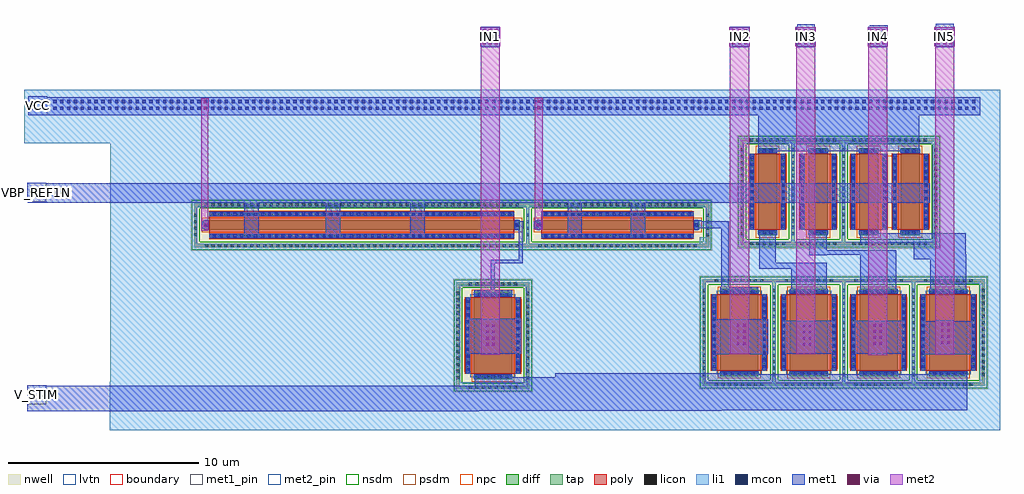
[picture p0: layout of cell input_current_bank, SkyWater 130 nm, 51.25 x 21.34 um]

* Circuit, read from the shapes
.subckt input_current_bank IN1 IN2 IN3 IN4 IN5 VBP_REF1N VCC V_STIM
XM1 sky130_fd_pr__pfet_01v8_lvt_Y5YEVR_9/D VBP_REF1N VCC VCC sky130_fd_pr__pfet_01v8 w=0.5 l=16
XM2 sky130_fd_pr__pfet_01v8_lvt_Y5YEVR_9/D IN1 V_STIM VCC sky130_fd_pr__pfet_01v8_lvt w=2 l=4
XM3 sky130_fd_pr__pfet_01v8_lvt_Y5YEVR_8/D VBP_REF1N VCC VCC sky130_fd_pr__pfet_01v8 w=0.5 l=8
XM4 sky130_fd_pr__pfet_01v8_lvt_Y5YEVR_8/D IN2 V_STIM VCC sky130_fd_pr__pfet_01v8_lvt w=2 l=4
XM5 VCC VBP_REF1N sky130_fd_pr__pfet_01v8_lvt_Y5YEVR_7/D VCC sky130_fd_pr__pfet_01v8 w=1 l=4
XM6 sky130_fd_pr__pfet_01v8_lvt_Y5YEVR_7/D IN3 V_STIM VCC sky130_fd_pr__pfet_01v8_lvt w=2 l=4
XM7 VCC VBP_REF1N sky130_fd_pr__pfet_01v8_lvt_Y5YEVR_6/D VCC sky130_fd_pr__pfet_01v8 w=1 l=4
XM8 VCC VBP_REF1N sky130_fd_pr__pfet_01v8_lvt_Y5YEVR_5/D VCC sky130_fd_pr__pfet_01v8 w=1 l=4 m=2
XM9 sky130_fd_pr__pfet_01v8_lvt_Y5YEVR_6/D IN4 V_STIM VCC sky130_fd_pr__pfet_01v8_lvt w=2 l=4
XM10 sky130_fd_pr__pfet_01v8_lvt_Y5YEVR_5/D IN5 V_STIM VCC sky130_fd_pr__pfet_01v8_lvt w=2 l=4
.ends

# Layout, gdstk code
from math import pi, radians
import gdstk
lib = gdstk.Library(unit=1e-6, precision=1e-09)
def R(c, l, rs):  # rectangles x0, y0, x1, y1
    for r in rs: c.add(gdstk.rectangle(r[:2], r[2:], *l))
def A(c, l, x, y, w, h, nx, ny, dx, dy):  # array of equal rectangles
    R(c, l, [(x+i*dx, y+j*dy, x+i*dx+w, y+j*dy+h) for i in range(nx) for j in range(ny)])
nwell = (64, 20)
diff = (65, 20)
tap = (65, 44)
poly = (66, 20)
licon = (66, 44)
li1 = (67, 20)
mcon = (67, 44)
met1_pin = (68, 16)
met1 = (68, 20)
via = (68, 44)
met2_pin = (69, 16)
met2 = (69, 20)
nsdm = (93, 44)
psdm = (94, 20)
npc = (95, 20)
lvtn = (125, 44)
boundary = (235, 4)

sky130_fd_pr__pfet_01v8_ = lib.new_cell('sky130_fd_pr__pfet_01v8_5ZWTQG')
R(sky130_fd_pr__pfet_01v8_, nwell, [(-2.98,-2.685,2.98,2.685)])
R(sky130_fd_pr__pfet_01v8_, diff, [(-2.29,-1.59,2.29,-0.59), (-2.29,0.59,2.29,1.59)])
R(sky130_fd_pr__pfet_01v8_, tap, [(-2.8,-2.505,2.8,-2.335), (-2.8,-2.335,-2.63,2.335), (2.63,-2.335,2.8,2.335), (-2.8,2.335,2.8,2.505)])
R(sky130_fd_pr__pfet_01v8_, poly, [(-2,-2.075,2,-0.105), (-2,0.105,2,2.075)])
A(sky130_fd_pr__pfet_01v8_, licon, -2.295, -2.505, 0.17, 0.17, 14, 2, 0.34, 4.84)
A(sky130_fd_pr__pfet_01v8_, licon, -1.785, -1.995, 0.17, 0.17, 11, 2, 0.34, 1.64)
A(sky130_fd_pr__pfet_01v8_, licon, -2.8, -1.955, 0.17, 0.17, 1, 12, 0, 0.34)
A(sky130_fd_pr__pfet_01v8_, licon, 2.63, -1.955, 0.17, 0.17, 1, 12, 0, 0.34)
A(sky130_fd_pr__pfet_01v8_, licon, -2.23, -1.515, 0.17, 0.17, 1, 3, 0, 0.34)
A(sky130_fd_pr__pfet_01v8_, licon, 2.06, -1.515, 0.17, 0.17, 1, 3, 0, 0.34)
A(sky130_fd_pr__pfet_01v8_, licon, -1.785, 0.185, 0.17, 0.17, 11, 2, 0.34, 1.64)
A(sky130_fd_pr__pfet_01v8_, licon, -2.23, 0.665, 0.17, 0.17, 1, 3, 0, 0.34)
A(sky130_fd_pr__pfet_01v8_, licon, 2.06, 0.665, 0.17, 0.17, 1, 3, 0, 0.34)
R(sky130_fd_pr__pfet_01v8_, li1, [(-2.8,-2.505,2.8,-2.335), (-2.8,-2.335,-2.63,2.335), (2.63,-2.335,2.8,2.335), (-2,-1.995,2,-1.825), (-2.23,-1.61,-2.06,-0.57), (2.06,-1.61,2.23,-0.57), (-2,-0.355,2,-0.185), (-2,0.185,2,0.355), (-2.23,0.57,-2.06,1.61), (2.06,0.57,2.23,1.61), (-2,1.825,2,1.995), (-2.8,2.335,2.8,2.505)])
A(sky130_fd_pr__pfet_01v8_, mcon, -1.885, -1.995, 0.17, 0.17, 11, 2, 0.36, 1.64)
A(sky130_fd_pr__pfet_01v8_, mcon, -1.885, 0.185, 0.17, 0.17, 11, 2, 0.36, 1.64)
R(sky130_fd_pr__pfet_01v8_, mcon, [(-2.23,-1.355,-2.06,-1.185), (2.06,-1.355,2.23,-1.185), (-2.23,-0.995,-2.06,-0.825), (2.06,-0.995,2.23,-0.825), (-2.23,0.825,-2.06,0.995), (2.06,0.825,2.23,0.995), (-2.23,1.185,-2.06,1.355), (2.06,1.185,2.23,1.355)])
R(sky130_fd_pr__pfet_01v8_, met1, [(-1.98,-2.025,1.98,-1.795), (-2.26,-1.59,-2.03,-0.59), (2.03,-1.59,2.26,-0.59), (-1.98,-0.385,1.98,-0.155), (-1.98,0.155,1.98,0.385), (-2.26,0.59,-2.03,1.59), (2.03,0.59,2.26,1.59), (-1.98,1.795,1.98,2.025)])
R(sky130_fd_pr__pfet_01v8_, nsdm, [(-2.925,-2.63,2.925,-2.21), (-2.925,-2.21,-2.505,2.21), (2.505,-2.21,2.925,2.21), (-2.925,2.21,2.925,2.63)])
R(sky130_fd_pr__pfet_01v8_, psdm, [(-2.415,-1.715,2.415,-0.465), (-2.415,0.465,2.415,1.715)])
R(sky130_fd_pr__pfet_01v8_, npc, [(-1.885,-2.095,1.885,-1.725), (-1.885,-0.455,1.885,0.455), (-1.885,1.725,1.885,2.095)])
R(sky130_fd_pr__pfet_01v8_, boundary, [(-2.715,-2.42,2.715,2.42)])
sky130_fd_pr__pfet_01v8_.add(gdstk.Label('G1', (0,1.91), layer=67, texttype=5))
sky130_fd_pr__pfet_01v8_.add(gdstk.Label('S1', (2.145,1.09), layer=67, texttype=5))
sky130_fd_pr__pfet_01v8_.add(gdstk.Label('D1', (-2.145,1.09), layer=67, texttype=5))
sky130_fd_pr__pfet_01v8_.add(gdstk.Label('G0', (0,-0.27), layer=67, texttype=5))
sky130_fd_pr__pfet_01v8_.add(gdstk.Label('S0', (2.145,-1.09), layer=67, texttype=5))
sky130_fd_pr__pfet_01v8_.add(gdstk.Label('D0', (-2.145,-1.09), layer=67, texttype=5))
sky130_fd_pr__pfet_01v8_.add(gdstk.Label('B', (0,-2.42), layer=67, texttype=5))

c_sky130_fd_pr__pfet_01v8_ = lib.new_cell('sky130_fd_pr__pfet_01v8_8SGQ8J')
R(c_sky130_fd_pr__pfet_01v8_, nwell, [(-2.98,-1.595,2.98,1.595)])
R(c_sky130_fd_pr__pfet_01v8_, diff, [(-2.29,-0.5,2.29,0.5)])
R(c_sky130_fd_pr__pfet_01v8_, tap, [(-2.8,-1.415,2.8,-1.245), (-2.8,-1.245,-2.63,1.245), (2.63,-1.245,2.8,1.245), (-2.8,1.245,2.8,1.415)])
R(c_sky130_fd_pr__pfet_01v8_, poly, [(-2,-0.985,2,0.985)])
A(c_sky130_fd_pr__pfet_01v8_, licon, -2.295, -1.415, 0.17, 0.17, 14, 2, 0.34, 2.66)
A(c_sky130_fd_pr__pfet_01v8_, licon, -2.8, -0.935, 0.17, 0.17, 1, 6, 0, 0.34)
A(c_sky130_fd_pr__pfet_01v8_, licon, 2.63, -0.935, 0.17, 0.17, 1, 6, 0, 0.34)
A(c_sky130_fd_pr__pfet_01v8_, licon, -1.785, -0.905, 0.17, 0.17, 11, 2, 0.34, 1.64)
A(c_sky130_fd_pr__pfet_01v8_, licon, -2.23, -0.425, 0.17, 0.17, 1, 3, 0, 0.34)
A(c_sky130_fd_pr__pfet_01v8_, licon, 2.06, -0.425, 0.17, 0.17, 1, 3, 0, 0.34)
R(c_sky130_fd_pr__pfet_01v8_, li1, [(-2.8,-1.415,2.8,-1.245), (-2.8,-1.245,-2.63,1.245), (2.63,-1.245,2.8,1.245), (-2,-0.905,2,-0.735), (-2.23,-0.52,-2.06,0.52), (2.06,-0.52,2.23,0.52), (-2,0.735,2,0.905), (-2.8,1.245,2.8,1.415)])
A(c_sky130_fd_pr__pfet_01v8_, mcon, -1.885, -0.905, 0.17, 0.17, 11, 2, 0.36, 1.64)
R(c_sky130_fd_pr__pfet_01v8_, mcon, [(-2.23,-0.265,-2.06,-0.095), (2.06,-0.265,2.23,-0.095), (-2.23,0.095,-2.06,0.265), (2.06,0.095,2.23,0.265)])
R(c_sky130_fd_pr__pfet_01v8_, met1, [(-1.98,-0.935,1.98,-0.705), (-2.26,-0.5,-2.03,0.5), (2.03,-0.5,2.26,0.5), (-1.98,0.705,1.98,0.935)])
R(c_sky130_fd_pr__pfet_01v8_, nsdm, [(-2.925,-1.54,2.925,-1.12), (-2.925,-1.12,-2.505,1.12), (2.505,-1.12,2.925,1.12), (-2.925,1.12,2.925,1.54)])
R(c_sky130_fd_pr__pfet_01v8_, psdm, [(-2.415,-0.625,2.415,0.625)])
R(c_sky130_fd_pr__pfet_01v8_, npc, [(-1.885,-1.005,1.885,-0.635), (-1.885,0.635,1.885,1.005)])
R(c_sky130_fd_pr__pfet_01v8_, boundary, [(-2.715,-1.33,2.715,1.33)])
c_sky130_fd_pr__pfet_01v8_.add(gdstk.Label('G', (0,0.82), layer=67, texttype=5))
c_sky130_fd_pr__pfet_01v8_.add(gdstk.Label('S', (2.145,0), layer=67, texttype=5))
c_sky130_fd_pr__pfet_01v8_.add(gdstk.Label('D', (-2.145,0), layer=67, texttype=5))
c_sky130_fd_pr__pfet_01v8_.add(gdstk.Label('B', (0,-1.33), layer=67, texttype=5))

c_sky130_fd_pr__pfet_01v8__ = lib.new_cell('sky130_fd_pr__pfet_01v8_CQGWXL')
R(c_sky130_fd_pr__pfet_01v8__, nwell, [(-4.98,-1.345,4.98,1.345)])
R(c_sky130_fd_pr__pfet_01v8__, diff, [(-4.29,-0.25,4.29,0.25)])
R(c_sky130_fd_pr__pfet_01v8__, tap, [(-4.8,-1.165,4.8,-0.995), (-4.8,-0.995,-4.63,0.995), (4.63,-0.995,4.8,0.995), (-4.8,0.995,4.8,1.165)])
R(c_sky130_fd_pr__pfet_01v8__, poly, [(-4,-0.735,4,0.735)])
A(c_sky130_fd_pr__pfet_01v8__, licon, -4.165, -1.165, 0.17, 0.17, 25, 2, 0.34, 2.16)
A(c_sky130_fd_pr__pfet_01v8__, licon, -3.825, -0.655, 0.17, 0.17, 23, 2, 0.34, 1.14)
A(c_sky130_fd_pr__pfet_01v8__, licon, -4.8, -0.595, 0.17, 0.17, 1, 4, 0, 0.34)
A(c_sky130_fd_pr__pfet_01v8__, licon, 4.63, -0.595, 0.17, 0.17, 1, 4, 0, 0.34)
R(c_sky130_fd_pr__pfet_01v8__, licon, [(-4.23,-0.085,-4.06,0.085), (4.06,-0.085,4.23,0.085)])
R(c_sky130_fd_pr__pfet_01v8__, li1, [(-4.8,-1.165,4.8,-0.995), (-4.8,-0.995,-4.63,0.995), (4.63,-0.995,4.8,0.995), (-4,-0.655,4,-0.485), (-4.23,-0.27,-4.06,0.27), (4.06,-0.27,4.23,0.27), (-4,0.485,4,0.655), (-4.8,0.995,4.8,1.165)])
A(c_sky130_fd_pr__pfet_01v8__, mcon, -3.865, -0.655, 0.17, 0.17, 22, 2, 0.36, 1.14)
R(c_sky130_fd_pr__pfet_01v8__, mcon, [(-4.23,-0.085,-4.06,0.085), (4.06,-0.085,4.23,0.085)])
R(c_sky130_fd_pr__pfet_01v8__, met1, [(-3.98,-0.685,3.98,-0.455), (-4.26,-0.25,-4.03,0.25), (4.03,-0.25,4.26,0.25), (-3.98,0.455,3.98,0.685)])
R(c_sky130_fd_pr__pfet_01v8__, nsdm, [(-4.925,-1.29,4.925,-0.87), (-4.925,-0.87,-4.505,0.87), (4.505,-0.87,4.925,0.87), (-4.925,0.87,4.925,1.29)])
R(c_sky130_fd_pr__pfet_01v8__, psdm, [(-4.415,-0.375,4.415,0.375)])
R(c_sky130_fd_pr__pfet_01v8__, npc, [(-3.925,-0.755,3.925,-0.385), (-3.925,0.385,3.925,0.755)])
R(c_sky130_fd_pr__pfet_01v8__, boundary, [(-4.715,-1.08,4.715,1.08)])
c_sky130_fd_pr__pfet_01v8__.add(gdstk.Label('G', (0,0.57), layer=67, texttype=5))
c_sky130_fd_pr__pfet_01v8__.add(gdstk.Label('S', (4.145,0), layer=67, texttype=5))
c_sky130_fd_pr__pfet_01v8__.add(gdstk.Label('D', (-4.145,0), layer=67, texttype=5))
c_sky130_fd_pr__pfet_01v8__.add(gdstk.Label('B', (0,-1.08), layer=67, texttype=5))

c_sky130_fd_pr__pfet_01v8___ = lib.new_cell('sky130_fd_pr__pfet_01v8_E3M74M')
R(c_sky130_fd_pr__pfet_01v8___, nwell, [(-8.98,-1.345,8.98,1.345)])
R(c_sky130_fd_pr__pfet_01v8___, diff, [(-8.29,-0.25,8.29,0.25)])
R(c_sky130_fd_pr__pfet_01v8___, tap, [(-8.8,-1.165,8.8,-0.995), (-8.8,-0.995,-8.63,0.995), (8.63,-0.995,8.8,0.995), (-8.8,0.995,8.8,1.165)])
R(c_sky130_fd_pr__pfet_01v8___, poly, [(-8,-0.735,8,0.735)])
A(c_sky130_fd_pr__pfet_01v8___, licon, -8.245, -1.165, 0.17, 0.17, 49, 2, 0.34, 2.16)
A(c_sky130_fd_pr__pfet_01v8___, licon, -7.905, -0.655, 0.17, 0.17, 47, 2, 0.34, 1.14)
A(c_sky130_fd_pr__pfet_01v8___, licon, -8.8, -0.595, 0.17, 0.17, 1, 4, 0, 0.34)
A(c_sky130_fd_pr__pfet_01v8___, licon, 8.63, -0.595, 0.17, 0.17, 1, 4, 0, 0.34)
R(c_sky130_fd_pr__pfet_01v8___, licon, [(-8.23,-0.085,-8.06,0.085), (8.06,-0.085,8.23,0.085)])
R(c_sky130_fd_pr__pfet_01v8___, li1, [(-8.8,-1.165,8.8,-0.995), (-8.8,-0.995,-8.63,0.995), (8.63,-0.995,8.8,0.995), (-8,-0.655,8,-0.485), (-8.23,-0.27,-8.06,0.27), (8.06,-0.27,8.23,0.27), (-8,0.485,8,0.655), (-8.8,0.995,8.8,1.165)])
A(c_sky130_fd_pr__pfet_01v8___, mcon, -7.825, -0.655, 0.17, 0.17, 44, 2, 0.36, 1.14)
R(c_sky130_fd_pr__pfet_01v8___, mcon, [(-8.23,-0.085,-8.06,0.085), (8.06,-0.085,8.23,0.085)])
R(c_sky130_fd_pr__pfet_01v8___, met1, [(-7.98,-0.685,7.98,-0.455), (-8.26,-0.25,-8.03,0.25), (8.03,-0.25,8.26,0.25), (-7.98,0.455,7.98,0.685)])
R(c_sky130_fd_pr__pfet_01v8___, nsdm, [(-8.925,-1.29,8.925,-0.87), (-8.925,-0.87,-8.505,0.87), (8.505,-0.87,8.925,0.87), (-8.925,0.87,8.925,1.29)])
R(c_sky130_fd_pr__pfet_01v8___, psdm, [(-8.415,-0.375,8.415,0.375)])
R(c_sky130_fd_pr__pfet_01v8___, npc, [(-8.005,-0.755,8.005,-0.385), (-8.005,0.385,8.005,0.755)])
R(c_sky130_fd_pr__pfet_01v8___, boundary, [(-8.715,-1.08,8.715,1.08)])
c_sky130_fd_pr__pfet_01v8___.add(gdstk.Label('G', (0,0.57), layer=67, texttype=5))
c_sky130_fd_pr__pfet_01v8___.add(gdstk.Label('S', (8.145,0), layer=67, texttype=5))
c_sky130_fd_pr__pfet_01v8___.add(gdstk.Label('D', (-8.145,0), layer=67, texttype=5))
c_sky130_fd_pr__pfet_01v8___.add(gdstk.Label('B', (0,-1.08), layer=67, texttype=5))

c_sky130_fd_pr__pfet_01v8____ = lib.new_cell('sky130_fd_pr__pfet_01v8_lvt_Y5YEVR')
R(c_sky130_fd_pr__pfet_01v8____, nwell, [(-2.98,-2.095,2.98,2.095)])
R(c_sky130_fd_pr__pfet_01v8____, diff, [(-2.29,-1,2.29,1)])
R(c_sky130_fd_pr__pfet_01v8____, tap, [(-2.8,-1.915,2.8,-1.745), (-2.8,-1.745,-2.63,1.745), (2.63,-1.745,2.8,1.745), (-2.8,1.745,2.8,1.915)])
R(c_sky130_fd_pr__pfet_01v8____, poly, [(-2,-1.485,2,1.485)])
A(c_sky130_fd_pr__pfet_01v8____, licon, -2.295, -1.915, 0.17, 0.17, 14, 2, 0.34, 3.66)
A(c_sky130_fd_pr__pfet_01v8____, licon, -1.785, -1.405, 0.17, 0.17, 11, 2, 0.34, 2.64)
A(c_sky130_fd_pr__pfet_01v8____, licon, -2.8, -1.275, 0.17, 0.17, 1, 8, 0, 0.34)
A(c_sky130_fd_pr__pfet_01v8____, licon, 2.63, -1.275, 0.17, 0.17, 1, 8, 0, 0.34)
A(c_sky130_fd_pr__pfet_01v8____, licon, -2.23, -0.935, 0.17, 0.17, 1, 6, 0, 0.34)
A(c_sky130_fd_pr__pfet_01v8____, licon, 2.06, -0.935, 0.17, 0.17, 1, 6, 0, 0.34)
R(c_sky130_fd_pr__pfet_01v8____, li1, [(-2.8,-1.915,2.8,-1.745), (-2.8,-1.745,-2.63,1.745), (2.63,-1.745,2.8,1.745), (-2,-1.405,2,-1.235), (-2.23,-1.02,-2.06,1.02), (2.06,-1.02,2.23,1.02), (-2,1.235,2,1.405), (-2.8,1.745,2.8,1.915)])
A(c_sky130_fd_pr__pfet_01v8____, mcon, -1.885, -1.405, 0.17, 0.17, 11, 2, 0.36, 2.64)
A(c_sky130_fd_pr__pfet_01v8____, mcon, -2.23, -0.805, 0.17, 0.17, 1, 5, 0, 0.36)
A(c_sky130_fd_pr__pfet_01v8____, mcon, 2.06, -0.805, 0.17, 0.17, 1, 5, 0, 0.36)
R(c_sky130_fd_pr__pfet_01v8____, met1, [(-1.98,-1.435,1.98,-1.205), (-2.26,-1,-2.03,1), (2.03,-1,2.26,1), (-1.98,1.205,1.98,1.435)])
R(c_sky130_fd_pr__pfet_01v8____, nsdm, [(-2.925,-2.04,2.925,-1.62), (-2.925,-1.62,-2.505,1.62), (2.505,-1.62,2.925,1.62), (-2.925,1.62,2.925,2.04)])
R(c_sky130_fd_pr__pfet_01v8____, psdm, [(-2.415,-1.125,2.415,1.125)])
R(c_sky130_fd_pr__pfet_01v8____, npc, [(-1.885,-1.505,1.885,-1.135), (-1.885,1.135,1.885,1.505)])
R(c_sky130_fd_pr__pfet_01v8____, lvtn, [(-2.18,-1.18,2.18,1.18)])
R(c_sky130_fd_pr__pfet_01v8____, boundary, [(-2.715,-1.83,2.715,1.83)])
c_sky130_fd_pr__pfet_01v8____.add(gdstk.Label('G', (0,1.32), layer=67, texttype=5))
c_sky130_fd_pr__pfet_01v8____.add(gdstk.Label('S', (2.145,0), layer=67, texttype=5))
c_sky130_fd_pr__pfet_01v8____.add(gdstk.Label('D', (-2.145,0), layer=67, texttype=5))
c_sky130_fd_pr__pfet_01v8____.add(gdstk.Label('B', (0,-1.83), layer=67, texttype=5))

input_current_bank = lib.new_cell('input_current_bank')
R(input_current_bank, li1, [(12.02,-15.27,58.77,-12.76), (12.06,-12.76,30.43,-7.7), (33.87,-12.76,43.26,-7.7), (57.7,-12.76,58.77,-7.58), (12.06,-7.7,43.26,-7.49), (55.24,-7.58,58.77,-7.49), (12.06,-7.49,58.77,-5.63), (12.06,-5.63,30.43,-5.52), (33.87,-5.63,58.77,-5.54), (33.87,-5.54,45.28,-5.48), (55.24,-5.54,58.77,-0.21), (12.06,-5.52,16.62,-3.56), (43.01,-5.48,45.28,-5.14), (43.33,-5.14,45.28,-3.56), (16.89,-4.7,17.18,-4.31), (12.06,-3.56,45.32,-0.21), (7.52,-0.21,58.77,2.61)])
A(input_current_bank, mcon, 7.98, 1.545, 0.17, 0.17, 138, 2, 0.36, 0.36)
R(input_current_bank, met1_pin, [(7.68,-13.91,8.68,-12.91), (7.69,-3.27,8.69,-2.27), (7.75,1.27,8.75,2.27), (44.7,4.885,45.59,5.885), (48.12,4.885,49.05,5.885), (51.94,4.885,52.85,5.885), (55.4,4.885,56.33,5.885)])
R(input_current_bank, met1, [(7.68,-14.27,31.4,-14.24), (7.68,-14.24,44.16,-14.23), (7.68,-14.23,57.04,-12.93), (7.68,-12.93,8.68,-12.91), (31.19,-12.93,57.04,-12.5), (35.42,-12.5,57.04,-12.33), (35.42,-12.33,44.16,-12.28), (43.66,-11.28,46.61,-9.45), (54.65,-11.28,57.41,-9.54), (30.68,-11.26,33.63,-9.43), (47.33,-11.26,50.09,-9.52), (51,-11.26,53.76,-9.52), (55.41,-9.54,56.36,-9.49), (31.15,-8.23,33.16,-7.93), (55.11,-8.09,56.99,-6.3), (47.81,-8.08,49.66,-6.8), (51.43,-8.08,53.33,-6.07), (44.13,-8.07,44.53,-8.055), (44.08,-8.055,46.07,-7.775), (32.03,-7.93,32.25,-6.5), (44.13,-7.775,44.53,-4.66), (46.13,-6.8,49.66,-6.48), (32.03,-6.5,33.72,-6.34), (46.13,-6.48,47,-4.81), (32.04,-6.34,33.72,-6.33), (33.5,-6.33,33.72,-4.7), (54.24,-6.3,56.99,-6.02), (48.75,-6.08,49.68,-6.07), (48.75,-6.07,53.33,-5.84), (54.24,-6.02,56.98,-5.46), (48.75,-5.84,53.32,-5.82), (48.75,-5.82,49.68,-4.83), (51.43,-5.46,56.98,-4.94), (23.36,-5.19,24.12,-3.33), (39.37,-5.19,40.13,-3.33), (19.09,-5.17,19.85,-3.33), (27.8,-5.14,28.56,-3.33), (36.06,-5.14,36.82,-3.33), (51.43,-4.94,54.55,-4.93), (16.84,-4.7,17.23,-4.31), (33.26,-4.7,33.72,-4.68), (34.29,-4.69,34.68,-4.3), (33.26,-4.68,33.74,-4.31), (42.87,-4.66,44.53,-4.645), (42.7,-4.645,44.53,-4.3), (33.35,-4.31,33.74,-4.3), (42.7,-4.3,43.09,-4.255), (7.72,-3.33,55.09,-3.27), (7.69,-3.27,55.09,-2.29), (7.69,-2.29,8.69,-2.27), (46.08,-0.625,54.53,1.27), (7.75,1.27,57.72,2.21), (7.75,2.21,8.75,2.27), (31.5,4.85,32.5,5.91), (44.59,4.85,45.59,4.99), (48.06,4.85,49.06,5.91), (51.85,4.85,52.85,5.06), (55.36,4.85,56.36,5.91), (44.59,4.99,45.63,5.91), (51.85,5.06,52.87,5.91), (44.7,5.91,45.63,5.92), (48.12,5.91,49.05,6.04), (51.94,5.91,52.87,5.99), (55.4,5.91,56.33,6.07)])
A(input_current_bank, via, 31.77, -10.83, 0.15, 0.15, 1, 4, 0, 0.32)
A(input_current_bank, via, 32.09, -10.83, 0.15, 0.15, 1, 4, 0, 0.32)
A(input_current_bank, via, 48.4, -10.83, 0.15, 0.15, 1, 4, 0, 0.32)
A(input_current_bank, via, 48.72, -10.83, 0.15, 0.15, 1, 4, 0, 0.32)
A(input_current_bank, via, 44.94, -10.8, 0.15, 0.15, 1, 4, 0, 0.32)
A(input_current_bank, via, 45.26, -10.8, 0.15, 0.15, 1, 4, 0, 0.32)
A(input_current_bank, via, 52.12, -10.8, 0.15, 0.15, 1, 4, 0, 0.32)
A(input_current_bank, via, 52.44, -10.8, 0.15, 0.15, 1, 4, 0, 0.32)
A(input_current_bank, via, 55.65, -10.75, 0.15, 0.15, 1, 4, 0, 0.32)
A(input_current_bank, via, 55.97, -10.75, 0.15, 0.15, 1, 4, 0, 0.32)
A(input_current_bank, via, 31.605, 4.985, 0.15, 0.15, 3, 3, 0.32, 0.32)
A(input_current_bank, via, 44.695, 4.985, 0.15, 0.15, 3, 3, 0.32, 0.32)
A(input_current_bank, via, 48.165, 4.985, 0.15, 0.15, 3, 3, 0.32, 0.32)
A(input_current_bank, via, 51.955, 4.985, 0.15, 0.15, 3, 3, 0.32, 0.32)
A(input_current_bank, via, 55.465, 4.985, 0.15, 0.15, 3, 3, 0.32, 0.32)
R(input_current_bank, via, [(16.96,-4.58,17.11,-4.43), (34.41,-4.57,34.56,-4.42), (16.95,1.575,17.1,1.725), (34.46,1.595,34.61,1.745), (16.95,1.895,17.1,2.045), (34.46,1.915,34.61,2.065)])
R(input_current_bank, met2_pin, [(31.5,4.885,32.5,5.88)])
R(input_current_bank, met2, [(51.85,-11.33,52.85,4.88), (31.5,-11.31,32.5,4.88), (55.36,-11.31,56.36,4.88), (44.73,-11.29,45.55,-11.27), (48.21,-11.29,49.03,-11.27), (44.59,-11.27,45.59,-11), (48.06,-11.27,49.06,4.88), (44.59,-11,45.6,-9.49), (44.59,-9.49,45.59,4.88), (16.83,-4.8,17.2,1.45), (34.34,-4.75,34.76,1.47), (16.82,1.45,17.23,2.17), (34.33,1.47,34.76,2.16), (34.33,2.16,34.74,2.19), (31.47,4.88,32.53,5.88), (44.56,4.88,45.62,5.88), (48.03,4.88,49.09,5.88), (51.82,4.88,52.88,5.88), (55.33,4.88,56.39,5.88)])
input_current_bank.add(gdstk.Reference(sky130_fd_pr__pfet_01v8_, (52.975,-2.75), rotation=3*pi/2))
input_current_bank.add(gdstk.Reference(c_sky130_fd_pr__pfet_01v8_, (49.225,-2.75), rotation=3*pi/2))
input_current_bank.add(gdstk.Reference(c_sky130_fd_pr__pfet_01v8__, (38.69,-4.495)))
input_current_bank.add(gdstk.Reference(c_sky130_fd_pr__pfet_01v8___, (25.26,-4.495)))
input_current_bank.add(gdstk.Reference(c_sky130_fd_pr__pfet_01v8_, (46.565,-2.75), rotation=3*pi/2))
input_current_bank.add(gdstk.Reference(c_sky130_fd_pr__pfet_01v8____, (56.055,-10.14), rotation=3*pi/2))
input_current_bank.add(gdstk.Reference(c_sky130_fd_pr__pfet_01v8____, (52.395,-10.14), rotation=3*pi/2))
input_current_bank.add(gdstk.Reference(c_sky130_fd_pr__pfet_01v8____, (48.735,-10.14), rotation=3*pi/2))
input_current_bank.add(gdstk.Reference(c_sky130_fd_pr__pfet_01v8____, (45.075,-10.14), rotation=3*pi/2))
input_current_bank.add(gdstk.Reference(c_sky130_fd_pr__pfet_01v8____, (32.145,-10.3), rotation=3*pi/2))
input_current_bank.add(gdstk.Label('IN4', (52.395,5.385), layer=68, texttype=5))
input_current_bank.add(gdstk.Label('IN3', (48.585,5.385), layer=68, texttype=5))
input_current_bank.add(gdstk.Label('IN2', (45.145,5.385), layer=68, texttype=5))
input_current_bank.add(gdstk.Label('VBP_REF1N', (8.19,-2.77), layer=68, texttype=5))
input_current_bank.add(gdstk.Label('V_STIM', (8.18,-13.41), layer=68, texttype=5))
input_current_bank.add(gdstk.Label('IN5', (55.865,5.385), layer=68, texttype=5))
input_current_bank.add(gdstk.Label('VCC', (8.25,1.77), layer=68, texttype=5))
input_current_bank.add(gdstk.Label('IN1', (32,5.382), layer=69, texttype=5))

lib.write_gds('input_current_bank.gds')
